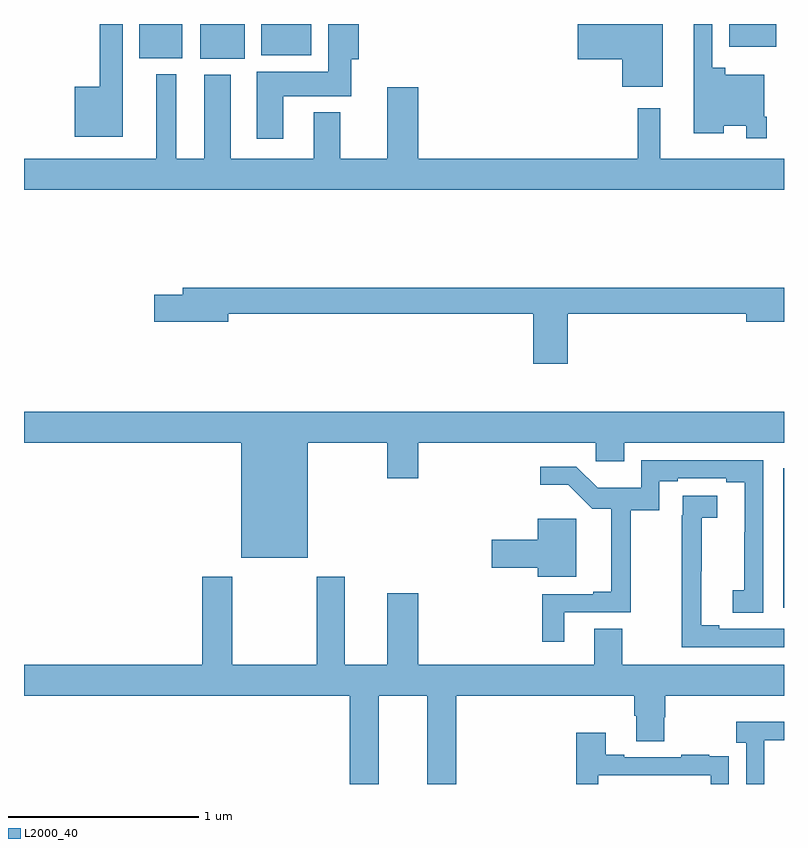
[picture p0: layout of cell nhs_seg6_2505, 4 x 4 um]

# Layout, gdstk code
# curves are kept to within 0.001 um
import gdstk
lib = gdstk.Library(unit=1e-6, precision=1e-09)
def R(c, l, rs):  # rectangles x0, y0, x1, y1
    for r in rs: c.add(gdstk.rectangle(r[:2], r[2:], *l))
def P(c, l, *ps):  # polygons
    for p in ps: c.add(gdstk.Polygon(p, *l))
L2000_40 = (2000, 40)

nhs_seg6_2505 = lib.new_cell('nhs_seg6_2505')
R(nhs_seg6_2505, L2000_40, [(262.997,986.427,263,987.163), (259.928,989.318,260.161,989.5), (259.607,989.321,259.834,989.5), (260.249,989.336,260.512,989.5), (262.712,989.381,262.96,989.5)])
P(nhs_seg6_2505, L2000_40, [(262.363,989.5),(261.914,989.5),(261.914,989.315),(262.148,989.315),(262.148,989.171),(262.363,989.171)],
  [(260.365,989.12),(260.722,989.12),(260.722,989.315),(260.761,989.315),(260.761,989.5),(260.6,989.5),(260.6,989.248),(260.225,989.248),(260.225,988.896),(260.365,988.896)],
  [(259.519,989.5),(259.398,989.5),(259.398,989.17),(259.268,989.17),(259.268,988.907),(259.519,988.907)],
  [(262.909,989.011),(262.896,989.011),(262.896,989.233),(262.692,989.233),(262.692,989.269),(262.623,989.269),(262.623,989.5),(262.526,989.5),(262.526,988.925),(262.684,988.925),(262.684,988.964),(262.8,988.964),(262.8,988.899),(262.909,988.899)],
  [(263,988.792),(262.348,988.792),(262.348,989.056),(262.231,989.056),(262.231,988.792),(261.076,988.792),(261.076,989.167),(260.912,989.167),(260.912,988.792),(260.665,988.792),(260.665,989.035),(260.525,989.035),(260.525,988.792),(260.089,988.792),(260.089,989.233),(259.949,989.233),(259.949,988.792),(259.801,988.792),(259.801,989.236),(259.697,989.236),(259.697,988.792),(259,988.792),(259,988.628),(263,988.628)],
  [(261.863,987.976),(262.802,987.976),(262.802,987.934),(263,987.934),(263,988.112),(259.835,988.112),(259.835,988.076),(259.686,988.076),(259.686,987.934),(260.074,987.934),(260.074,987.976),(261.68,987.976),(261.68,987.711),(261.863,987.711)],
  [(260.494,987.296),(260.912,987.296),(260.912,987.108),(261.076,987.108),(261.076,987.296),(262.008,987.296),(262.008,987.198),(262.159,987.198),(262.159,987.296),(263,987.296),(263,987.46),(259,987.46),(259,987.296),(260.144,987.296),(260.144,986.69),(260.494,986.69)],
  [(261.844,986.403),(262.193,986.403),(262.193,986.941),(262.344,986.941),(262.344,987.094),(262.441,987.094),(262.441,987.108),(262.697,987.108),(262.697,987.088),(262.793,987.088),(262.792,986.521),(262.731,986.521),(262.731,986.401),(262.89,986.401),(262.89,987.204),(262.248,987.204),(262.248,987.058),(262.019,987.058),(261.906,987.171),(261.717,987.171),(261.717,987.074),(261.865,987.074),(261.991,986.949),(262.091,986.949),(262.091,986.512),(261.995,986.512),(261.995,986.499),(261.727,986.499),(261.727,986.25),(261.844,986.25)],
  [(263,986.316),(262.66,986.316),(262.66,986.336),(262.564,986.336),(262.564,986.619),(262.566,986.619),(262.566,986.902),(262.648,986.902),(262.648,987.017),(262.468,987.017),(262.468,986.915),(262.462,986.915),(262.462,986.22),(263,986.22)],
  [(261.907,986.896),(261.704,986.896),(261.704,986.786),(261.462,986.786),(261.462,986.639),(261.704,986.639),(261.704,986.591),(261.907,986.591)],
  [(262.149,986.318),(262.001,986.318),(262.001,986.128),(261.076,986.128),(261.076,986.503),(260.912,986.503),(260.912,986.128),(260.689,986.128),(260.689,986.59),(260.541,986.59),(260.541,986.128),(260.097,986.128),(260.097,986.59),(259.937,986.59),(259.937,986.128),(259,986.128),(259,985.964),(260.714,985.964),(260.714,985.5),(260.866,985.5),(260.866,985.964),(261.122,985.964),(261.122,985.5),(261.275,985.5),(261.275,985.964),(262.211,985.964),(262.211,985.858),(262.223,985.858),(262.223,985.726),(262.371,985.726),(262.371,985.851),(262.376,985.851),(262.376,985.964),(263,985.964),(263,986.128),(262.149,986.128)],
  [(262.896,985.531),(262.897,985.531),(262.897,985.731),(263,985.731),(263,985.828),(262.749,985.828),(262.749,985.718),(262.8,985.718),(262.8,985.5),(262.896,985.5)],
  [(262.023,985.545),(262.614,985.545),(262.614,985.5),(262.71,985.5),(262.71,985.538),(262.709,985.538),(262.709,985.647),(262.607,985.647),(262.607,985.654),(262.459,985.654),(262.459,985.641),(262.159,985.641),(262.159,985.654),(262.063,985.654),(262.063,985.771),(261.907,985.771),(261.907,985.5),(262.023,985.5)])

lib.write_gds('nhs_seg6_2505.gds')
